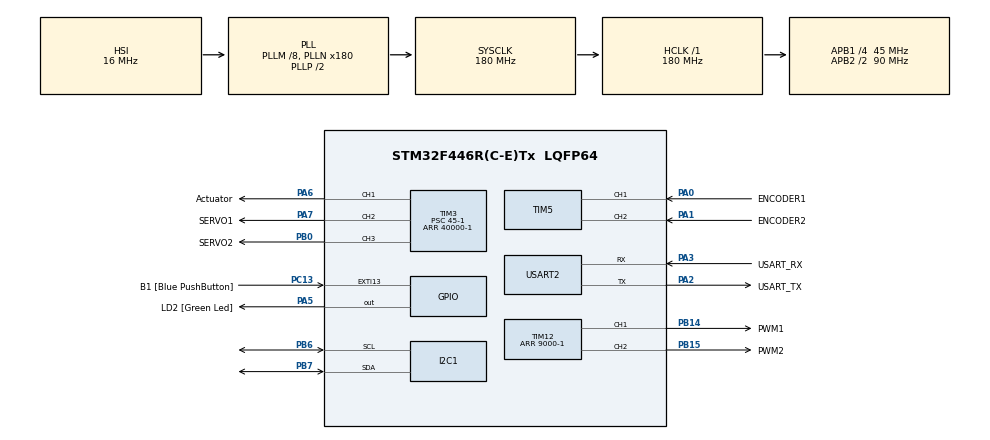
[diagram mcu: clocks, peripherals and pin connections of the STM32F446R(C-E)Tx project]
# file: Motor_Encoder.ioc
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I2C1.I2C_Mode=I2C_Fast
Mcu.Family=STM32F4
Mcu.Name=STM32F446R(C-E)Tx
Mcu.Package=LQFP64
NVIC.PriorityGroup=NVIC_PRIORITYGROUP_0
NVIC.USART2_IRQn=true\:0\:0\:false\:false\:true\:true\:true\:true
PA0-WKUP.GPIO_Label=ENCODER1
PA0-WKUP.Signal=S_TIM5_CH1
PA1.GPIO_Label=ENCODER2
PA1.Signal=S_TIM5_CH2
PA13.GPIO_Label=TMS
PA13.Mode=Serial_Wire
PA13.Signal=SYS_JTMS-SWDIO
PA14.GPIO_Label=TCK
PA14.Mode=Serial_Wire
PA14.Signal=SYS_JTCK-SWCLK
PA2.GPIO_Label=USART_TX
PA2.Mode=Asynchronous
PA2.Signal=USART2_TX
PA3.GPIO_Label=USART_RX
PA3.Mode=Asynchronous
PA3.Signal=USART2_RX
PA5.GPIO_Label=LD2 [Green Led]
PA5.Signal=GPIO_Output
PA6.GPIO_Label=Actuator
PA6.Signal=S_TIM3_CH1
PA7.GPIO_Label=SERVO1
PA7.Signal=S_TIM3_CH2
PB0.GPIO_Label=SERVO2
PB0.Signal=S_TIM3_CH3
PB14.GPIO_Label=PWM1
PB14.Signal=S_TIM12_CH1
PB15.GPIO_Label=PWM2
PB15.Signal=S_TIM12_CH2
PB3.GPIO_Label=SWO
PB3.Signal=SYS_JTDO-SWO
PB6.Mode=I2C
PB6.Signal=I2C1_SCL
PB7.Mode=I2C
PB7.Signal=I2C1_SDA
PC13.GPIO_Label=B1 [Blue PushButton]
PC13.GPIO_ModeDefaultEXTI=GPIO_MODE_IT_FALLING
PC13.Signal=GPXTI13
PC14-OSC32_IN.Mode=LSE-External-Oscillator
PC14-OSC32_IN.Signal=RCC_OSC32_IN
PC15-OSC32_OUT.Mode=LSE-External-Oscillator
PC15-OSC32_OUT.Signal=RCC_OSC32_OUT
PH0-OSC_IN.Mode=HSE-External-Oscillator
PH0-OSC_IN.Signal=RCC_OSC_IN
PH1-OSC_OUT.Mode=HSE-External-Oscillator
PH1-OSC_OUT.Signal=RCC_OSC_OUT
ProjectManager.HeapSize=0x200
ProjectManager.StackSize=0x400
ProjectManager.TargetToolchain=Makefile
RCC.48MHZClocksFreq_Value=84000000
RCC.AHBFreq_Value=180000000
RCC.APB1CLKDivider=RCC_HCLK_DIV4
RCC.APB1Freq_Value=45000000
RCC.APB1TimFreq_Value=90000000
RCC.APB2CLKDivider=RCC_HCLK_DIV2
RCC.APB2Freq_Value=90000000
RCC.APB2TimFreq_Value=180000000
RCC.CortexFreq_Value=180000000
RCC.FLatency-AdvancedSettings=FLASH_LATENCY_5
RCC.HCLKFreq_Value=180000000
RCC.HSE_VALUE=8000000
RCC.HSI_VALUE=16000000
RCC.PLLM=8
RCC.PLLN=180
RCC.SYSCLKFreq_VALUE=180000000
RCC.SYSCLKSource=RCC_SYSCLKSOURCE_PLLCLK
RCC.USBFreq_Value=180000000
RCC.VCOOutputFreq_Value=360000000
SH.S_TIM12_CH1.0=TIM12_CH1,PWM Generation1 CH1
SH.S_TIM12_CH2.0=TIM12_CH2,PWM Generation2 CH2
SH.S_TIM3_CH1.0=TIM3_CH1,PWM Generation1 CH1
SH.S_TIM3_CH2.0=TIM3_CH2,PWM Generation2 CH2
SH.S_TIM3_CH3.0=TIM3_CH3,PWM Generation3 CH3
SH.S_TIM5_CH1.0=TIM5_CH1,Encoder_Interface
SH.S_TIM5_CH2.0=TIM5_CH2,Encoder_Interface
TIM12.Channel-PWM\ Generation1\ CH1=TIM_CHANNEL_1
TIM12.Channel-PWM\ Generation2\ CH2=TIM_CHANNEL_2
TIM12.Period=9000-1
TIM3.Channel-PWM\ Generation1\ CH1=TIM_CHANNEL_1
TIM3.Channel-PWM\ Generation2\ CH2=TIM_CHANNEL_2
TIM3.Channel-PWM\ Generation3\ CH3=TIM_CHANNEL_3
TIM3.Period=40000-1
TIM3.Prescaler=45-1
TIM5.EncoderMode=TIM_ENCODERMODE_TI12
USART2.VirtualMode=VM_ASYNC
VP_TIM12_VS_ClockSourceINT.Mode=Internal
VP_TIM3_VS_ClockSourceINT.Mode=Internal
board=NUCLEO-F446RE

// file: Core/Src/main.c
/* USER CODE BEGIN Header */
/**
  ******************************************************************************
  * @file           : main.c
  * @brief          : Main program body
  ******************************************************************************
  * @attention
  *
  * Copyright (c) 2023 STMicroelectronics.
  * All rights reserved.
  *
  * This software is licensed under terms that can be found in the LICENSE file
  * in the root directory of this software component.
  * If no LICENSE file comes with this software, it is provided AS-IS.
  *
  ******************************************************************************
  */
/* USER CODE END Header */
#include "main.h"
#include "i2c.h"
#include "tim.h"
#include "usart.h"
#include "gpio.h"

/* USER CODE BEGIN Includes */
#include "BNO055.h"
#include "motor.h"
/* USER CODE END Includes */

void SystemClock_Config(void);

/* USER CODE BEGIN 0 */

/* Servo Motor Struct */
Servo_Config_t servoConfig;
Servo_Instance_t servoInstance;

/* Actuator Struct */
Actuator_Config_t actConfig;
Actuator_Instance_t actInstance;

/* DCMotor Struct */
DCMotor_Config_t dcMotorConfig;
DCMotor_Instance_t dcMotor;

/* Encoder Struct */
DCMotor_Encoder_Config_t encConfig;
DCMotor_Encoder_Instance_t encInstance;

/* General Motor Var */
Servo_Error servoError;
Actuator_Error actError;
DCMotor_Error dcError;

uint32_t encoderCnt = 0;
char motorDone = 0;
uint8_t uartBuf[4];
#define defaultValue (35525U)
uint8_t defaultPrint[] = "Please Enter Desired Angle: \n";
volatile char inUART = 0;
const char HANDSHAKE = 0xAA;
int16_t userBalls = 0;
/* USER CODE END 0 */

int main(void)
{

  /* MCU Configuration--------------------------------------------------------*/

  /* Reset of all peripherals, Initializes the Flash interface and the Systick. */
  HAL_Init();

  /* Configure the system clock */
  SystemClock_Config();

  /* Initialize all configured peripherals */
  MX_GPIO_Init();
  MX_USART2_UART_Init();
  MX_I2C1_Init();
  MX_TIM5_Init();
  MX_TIM12_Init();
  MX_TIM3_Init();
  /* USER CODE BEGIN 2 */

  servoConfig.minDuty   = 0.025;
  servoConfig.maxDuty   = 0.125;
  servoConfig.minAngle  = -90;
  servoConfig.minAngle  = 90;

  servoInstance.htim    = &htim3;
  servoInstance.channel = TIM_CHANNEL_2;
  servoInstance.config  = &servoConfig;

  servoError = Servo_Init(&servoInstance);
  if(servoError != SERVO_OK){
    HAL_GPIO_WritePin(LD2_GPIO_Port, LD2_Pin, GPIO_PIN_SET);
    while(1);
  }

  actConfig.Min_Pulse          = 900;
  actConfig.Max_Pulse          = 2100;
  actConfig.Min_Length         = 0;
  actConfig.Max_Length         = 27;
  actConfig.Desired_Max_Length = 0;
  actConfig.Desired_Max_Length = 16;

  actInstance.Act_Timer = &htim3;
  actInstance.Channel   = TIM_CHANNEL_1;
  actInstance.config    = &actConfig;

  actError = Actuator_Init(&actInstance);
  if(actError != ACTUATOR_OK){
    HAL_GPIO_WritePin(LD2_GPIO_Port, LD2_Pin, GPIO_PIN_SET);
    while(1);
  }

  Actuator_Init(&actInstance);

  Drive_Actuator(&actInstance, 8);

  Drive_Actuator(&actInstance, 16);

  Drive_Actuator(&actInstance, 19);

  dcMotorConfig.Min_Speed = 0;
  dcMotorConfig.Max_Speed = 100;

  dcMotor.DC_Timer      = &htim12;
  dcMotor.IN1_Channel   = TIM_CHANNEL_1;
  dcMotor.IN2_Channel   = TIM_CHANNEL_2;
  dcMotor.config        = &dcMotorConfig;

  DCMotor_Init(&dcMotor);

  encConfig.Current_Angle     = 0;
  encConfig.Default_Counter   = defaultValue;
  encConfig.Degree_Per_Pulse  = (float)360 / defaultValue;
  encConfig.Min_Angle         = -360;
  encConfig.Max_Angle         = 360;

  encInstance.Encoder_Timer   = &htim5;
  encInstance.encConfig       = &encConfig;
  encInstance.motorInstance   = &dcMotor;

  DCMotor_Encoder_Init(&encInstance);

  //Drive_DCMotor_Angle(&encInstance, -60);

  // __HAL_TIM_SET_COUNTER(&htim5, rotationValue);
  // HAL_TIM_Encoder_Start(&htim5, TIM_CHANNEL_ALL);

  // encoderCnt = __HAL_TIM_GET_COUNTER(&htim5);
  // dcError = Drive_DCMotor(&dcMotor, 45, CLOCKWISE);
  // if(dcError != DC_MOTOR_OK){
  //   HAL_GPIO_WritePin(LD2_GPIO_Port, LD2_Pin, GPIO_PIN_SET);
  //   while(1);
  // }
  // HAL_Delay(500);

  /* USER CODE END 2 */

  /* Infinite loop */
  /* USER CODE BEGIN WHILE */
  while (1)
  {
    // encoderCnt = __HAL_TIM_GET_COUNTER(&htim5);
    // if(encoderCnt >= 44406){
    //   Stop_DCMotor(&dcMotor);
    //   HAL_Delay(1000);
    //   dcError = Drive_DCMotor(&dcMotor, 42, COUNTER_CLOCKWISE);
    //   while(!motorDone){
    //     encoderCnt = __HAL_TIM_GET_COUNTER(&htim5);
    //     if(encoderCnt <= 35525){
    //       Stop_DCMotor(&dcMotor);
    //       HAL_GPIO_WritePin(LD2_GPIO_Port, LD2_Pin, GPIO_PIN_SET);
    //       motorDone = 1;
    //     }
    //   }
    // }

  //HAL_UART_Transmit(&huart2, defaultPrint, sizeof(defaultPrint), 100);
  HAL_UART_Receive_IT(&huart2, uartBuf, sizeof(uartBuf));
  while(!inUART);
  inUART = 0;
  userBalls = atoi(uartBuf);
  Drive_DCMotor_Angle(&encInstance, userBalls);
  HAL_UART_Transmit(&huart2, &HANDSHAKE, 1, 100);

    /* USER CODE END WHILE */

  }
}

void SystemClock_Config(void)
{
  RCC_OscInitTypeDef RCC_OscInitStruct = {0};
  RCC_ClkInitTypeDef RCC_ClkInitStruct = {0};

  /** Configure the main internal regulator output voltage
  */
  __HAL_RCC_PWR_CLK_ENABLE();
  __HAL_PWR_VOLTAGESCALING_CONFIG(PWR_REGULATOR_VOLTAGE_SCALE1);

  /** Initializes the RCC Oscillators according to the specified parameters
  * in the RCC_OscInitTypeDef structure.
  */
  RCC_OscInitStruct.OscillatorType = RCC_OSCILLATORTYPE_HSI;
  RCC_OscInitStruct.HSIState = RCC_HSI_ON;
  RCC_OscInitStruct.HSICalibrationValue = RCC_HSICALIBRATION_DEFAULT;
  RCC_OscInitStruct.PLL.PLLState = RCC_PLL_ON;
  RCC_OscInitStruct.PLL.PLLSource = RCC_PLLSOURCE_HSI;
  RCC_OscInitStruct.PLL.PLLM = 8;
  RCC_OscInitStruct.PLL.PLLN = 180;
  RCC_OscInitStruct.PLL.PLLP = RCC_PLLP_DIV2;
  RCC_OscInitStruct.PLL.PLLQ = 2;
  RCC_OscInitStruct.PLL.PLLR = 2;
  if (HAL_RCC_OscConfig(&RCC_OscInitStruct) != HAL_OK)
  {
    Error_Handler();
  }

  /** Activate the Over-Drive mode
  */
  if (HAL_PWREx_EnableOverDrive() != HAL_OK)
  {
    Error_Handler();
  }

  /** Initializes the CPU, AHB and APB buses clocks
  */
  RCC_ClkInitStruct.ClockType = RCC_CLOCKTYPE_HCLK|RCC_CLOCKTYPE_SYSCLK
                              |RCC_CLOCKTYPE_PCLK1|RCC_CLOCKTYPE_PCLK2;
  RCC_ClkInitStruct.SYSCLKSource = RCC_SYSCLKSOURCE_PLLCLK;
  RCC_ClkInitStruct.AHBCLKDivider = RCC_SYSCLK_DIV1;
  RCC_ClkInitStruct.APB1CLKDivider = RCC_HCLK_DIV4;
  RCC_ClkInitStruct.APB2CLKDivider = RCC_HCLK_DIV2;

  if (HAL_RCC_ClockConfig(&RCC_ClkInitStruct, FLASH_LATENCY_5) != HAL_OK)
  {
    Error_Handler();
  }
}

void Error_Handler(void)
{
  __disable_irq();
  while (1)
  {
  }
}
